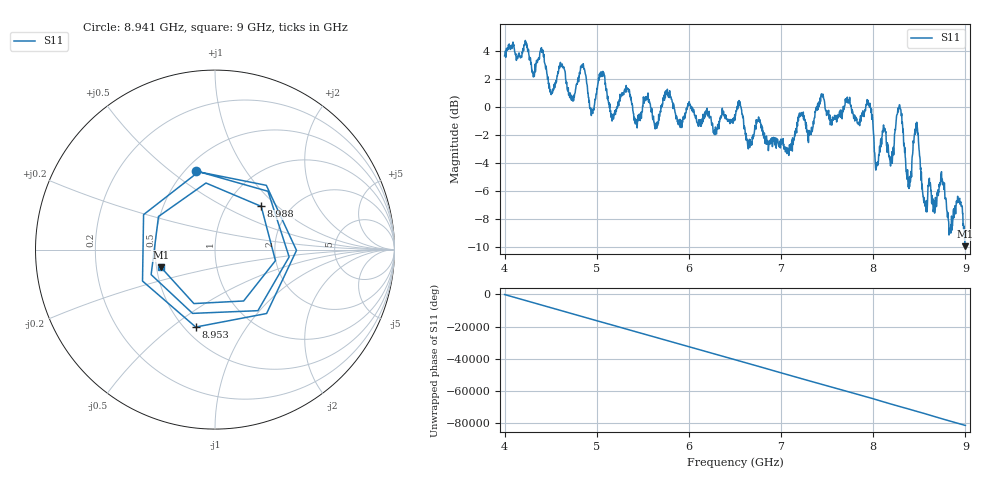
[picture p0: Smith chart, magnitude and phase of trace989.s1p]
! Created with skrf 1.8.0 (http://scikit-rf.org).
# Hz S RI R 50.0
!freq ReS11 ImS11
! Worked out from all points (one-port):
!   1601 points, 4 GHz to 9 GHz, reference 50 ohm
!   lowest |S11| = -10.0 dB at 9 GHz (marker M1), VSWR 1.93, Z = 26.4 - j5.73 ohm
!   |S11| at or under -10 dB: nowhere
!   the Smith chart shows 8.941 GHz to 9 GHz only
!   S11 on the Smith chart (normalised r, x): 8.941 GHz: 0.57, +0.62; 8.953 GHz: 0.57, -0.61; 8.988 GHz: 1.44, +0.79; 9 GHz: 0.53, -0.11
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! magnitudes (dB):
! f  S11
! 4 GHz  3.7
! 4.406 GHz  4.1
! 4.506 GHz  0.9
! 4.625 GHz  3.1
! 4.731 GHz  0.5
! 4.85 GHz  2.9
! 4.947 GHz  -0.4
! 5.053 GHz  2.4
! 5.162 GHz  -0.5
! 5.25 GHz  0.4
! 5.875 GHz  -1.1
! 6.5 GHz  -0.9
! 7.125 GHz  -2.2
! 7.441 GHz  0.8
! 7.75 GHz  0.2
! 7.956 GHz  0.3
! 8.038 GHz  -4.0
! 8.112 GHz  -1.3
! 8.2 GHz  -4.0
! 8.284 GHz  0.2
! 8.375 GHz  -5.0
! 8.466 GHz  -1.2
! 8.562 GHz  -7.1
! 8.841 GHz  -8.4
! 8.941 GHz  -7.0
! 8.953 GHz  -7.0
! 8.988 GHz  -9.1
! 9 GHz  -10.0
